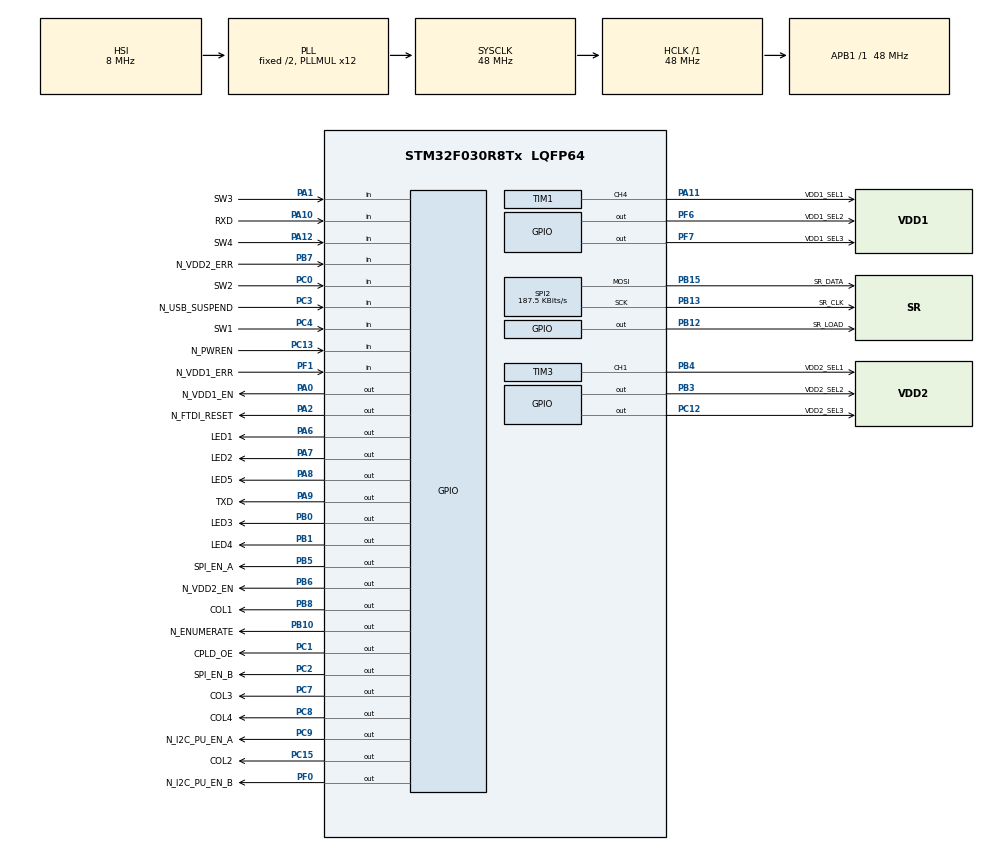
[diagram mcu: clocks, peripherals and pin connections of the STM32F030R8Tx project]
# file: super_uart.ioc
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Mcu.Family=STM32F0
Mcu.Name=STM32F030R8Tx
Mcu.Package=LQFP64
NVIC.TIM6_IRQn=true\:0\:0\:false\:false\:true\:true
PA0.GPIO_Label=N_VDD1_EN
PA0.GPIO_ModeDefaultOutputPP=GPIO_MODE_OUTPUT_PP
PA0.GPIO_PuPd=GPIO_NOPULL
PA0.GPIO_Speed=GPIO_SPEED_FREQ_LOW
PA0.PinState=GPIO_PIN_SET
PA0.Signal=GPIO_Output
PA1.GPIO_Label=SW3
PA1.GPIO_PuPd=GPIO_PULLUP
PA1.Signal=GPIO_Input
PA10.GPIO_Label=RXD
PA10.GPIO_PuPd=GPIO_PULLUP
PA10.Signal=GPIO_Input
PA11.GPIO_Label=VDD1_SEL1
PA11.Signal=S_TIM1_CH4
PA12.GPIO_Label=SW4
PA12.GPIO_PuPd=GPIO_PULLUP
PA12.Signal=GPIO_Input
PA13.Mode=Serial_Wire
PA13.Signal=SYS_SWDIO
PA14.Mode=Serial_Wire
PA14.Signal=SYS_SWCLK
PA2.GPIO_Label=N_FTDI_RESET
PA2.GPIO_ModeDefaultOutputPP=GPIO_MODE_OUTPUT_PP
PA2.GPIO_PuPd=GPIO_NOPULL
PA2.GPIO_Speed=GPIO_SPEED_FREQ_LOW
PA2.PinState=GPIO_PIN_SET
PA2.Signal=GPIO_Output
PA6.GPIO_Label=LED1
PA6.GPIO_ModeDefaultOutputPP=GPIO_MODE_OUTPUT_PP
PA6.GPIO_PuPd=GPIO_NOPULL
PA6.GPIO_Speed=GPIO_SPEED_FREQ_LOW
PA6.PinState=GPIO_PIN_RESET
PA6.Signal=GPIO_Output
PA7.GPIO_Label=LED2
PA7.GPIO_ModeDefaultOutputPP=GPIO_MODE_OUTPUT_PP
PA7.GPIO_PuPd=GPIO_NOPULL
PA7.GPIO_Speed=GPIO_SPEED_FREQ_LOW
PA7.PinState=GPIO_PIN_RESET
PA7.Signal=GPIO_Output
PA8.GPIO_Label=LED5
PA8.GPIO_ModeDefaultOutputPP=GPIO_MODE_OUTPUT_PP
PA8.GPIO_PuPd=GPIO_NOPULL
PA8.GPIO_Speed=GPIO_SPEED_FREQ_LOW
PA8.PinState=GPIO_PIN_RESET
PA8.Signal=GPIO_Output
PA9.GPIO_Label=TXD
PA9.GPIO_ModeDefaultOutputPP=GPIO_MODE_OUTPUT_PP
PA9.GPIO_PuPd=GPIO_NOPULL
PA9.GPIO_Speed=GPIO_SPEED_FREQ_LOW
PA9.PinState=GPIO_PIN_SET
PA9.Signal=GPIO_Output
PB0.GPIO_Label=LED3
PB0.GPIO_ModeDefaultOutputPP=GPIO_MODE_OUTPUT_PP
PB0.GPIO_PuPd=GPIO_NOPULL
PB0.GPIO_Speed=GPIO_SPEED_FREQ_LOW
PB0.PinState=GPIO_PIN_RESET
PB0.Signal=GPIO_Output
PB1.GPIO_Label=LED4
PB1.GPIO_ModeDefaultOutputPP=GPIO_MODE_OUTPUT_PP
PB1.GPIO_PuPd=GPIO_NOPULL
PB1.GPIO_Speed=GPIO_SPEED_FREQ_LOW
PB1.PinState=GPIO_PIN_RESET
PB1.Signal=GPIO_Output
PB10.GPIO_Label=N_ENUMERATE
PB10.PinState=GPIO_PIN_SET
PB10.Signal=GPIO_Output
PB12.GPIO_Label=SR_LOAD
PB12.GPIO_ModeDefaultOutputPP=GPIO_MODE_OUTPUT_PP
PB12.GPIO_PuPd=GPIO_NOPULL
PB12.GPIO_Speed=GPIO_SPEED_FREQ_LOW
PB12.PinState=GPIO_PIN_RESET
PB12.Signal=GPIO_Output
PB13.GPIO_Label=SR_CLK
PB13.GPIO_Speed=GPIO_SPEED_FREQ_LOW
PB13.Mode=TX_Only_Simplex_Unidirect_Master
PB13.Signal=SPI2_SCK
PB15.GPIO_Label=SR_DATA
PB15.GPIO_Speed=GPIO_SPEED_FREQ_LOW
PB15.Mode=TX_Only_Simplex_Unidirect_Master
PB15.Signal=SPI2_MOSI
PB3.GPIO_Label=VDD2_SEL2
PB3.GPIO_ModeDefaultOutputPP=GPIO_MODE_OUTPUT_PP
PB3.GPIO_PuPd=GPIO_NOPULL
PB3.GPIO_Speed=GPIO_SPEED_FREQ_LOW
PB3.PinState=GPIO_PIN_RESET
PB3.Signal=GPIO_Output
PB4.GPIO_Label=VDD2_SEL1
PB4.Signal=S_TIM3_CH1
PB5.GPIO_Label=SPI_EN_A
PB5.GPIO_ModeDefaultOutputPP=GPIO_MODE_OUTPUT_PP
PB5.GPIO_PuPd=GPIO_NOPULL
PB5.GPIO_Speed=GPIO_SPEED_FREQ_LOW
PB5.PinState=GPIO_PIN_RESET
PB5.Signal=GPIO_Output
PB6.GPIO_Label=N_VDD2_EN
PB6.GPIO_ModeDefaultOutputPP=GPIO_MODE_OUTPUT_PP
PB6.GPIO_PuPd=GPIO_NOPULL
PB6.GPIO_Speed=GPIO_SPEED_FREQ_LOW
PB6.PinState=GPIO_PIN_SET
PB6.Signal=GPIO_Output
PB7.GPIO_Label=N_VDD2_ERR
PB7.GPIO_PuPd=GPIO_PULLUP
PB7.Signal=GPIO_Input
PB8.GPIO_Label=COL1
PB8.GPIO_ModeDefaultOutputPP=GPIO_MODE_OUTPUT_PP
PB8.GPIO_PuPd=GPIO_NOPULL
PB8.GPIO_Speed=GPIO_SPEED_FREQ_LOW
PB8.PinState=GPIO_PIN_SET
PB8.Signal=GPIO_Output
PC0.GPIO_Label=SW2
PC0.GPIO_PuPd=GPIO_PULLUP
PC0.Signal=GPIO_Input
PC1.GPIO_Label=CPLD_OE
PC1.GPIO_ModeDefaultOutputPP=GPIO_MODE_OUTPUT_PP
PC1.GPIO_PuPd=GPIO_NOPULL
PC1.GPIO_Speed=GPIO_SPEED_FREQ_LOW
PC1.PinState=GPIO_PIN_SET
PC1.Signal=GPIO_Output
PC12.GPIO_Label=VDD2_SEL3
PC12.GPIO_ModeDefaultOutputPP=GPIO_MODE_OUTPUT_PP
PC12.GPIO_PuPd=GPIO_NOPULL
PC12.GPIO_Speed=GPIO_SPEED_FREQ_LOW
PC12.PinState=GPIO_PIN_RESET
PC12.Signal=GPIO_Output
PC13.GPIO_Label=N_PWREN
PC13.GPIO_PuPd=GPIO_PULLUP
PC13.Signal=GPIO_Input
PC15-OSC32_OUT.GPIO_Label=COL2
PC15-OSC32_OUT.GPIO_ModeDefaultOutputPP=GPIO_MODE_OUTPUT_PP
PC15-OSC32_OUT.GPIO_PuPd=GPIO_NOPULL
PC15-OSC32_OUT.GPIO_Speed=GPIO_SPEED_FREQ_LOW
PC15-OSC32_OUT.PinState=GPIO_PIN_SET
PC15-OSC32_OUT.Signal=GPIO_Output
PC2.GPIO_Label=SPI_EN_B
PC2.GPIO_ModeDefaultOutputPP=GPIO_MODE_OUTPUT_PP
PC2.GPIO_PuPd=GPIO_NOPULL
PC2.GPIO_Speed=GPIO_SPEED_FREQ_LOW
PC2.PinState=GPIO_PIN_RESET
PC2.Signal=GPIO_Output
PC3.GPIO_Label=N_USB_SUSPEND
PC3.GPIO_PuPd=GPIO_PULLUP
PC3.Signal=GPIO_Input
PC4.GPIO_Label=SW1
PC4.GPIO_PuPd=GPIO_PULLUP
PC4.Signal=GPIO_Input
PC7.GPIO_Label=COL3
PC7.GPIO_ModeDefaultOutputPP=GPIO_MODE_OUTPUT_PP
PC7.GPIO_PuPd=GPIO_NOPULL
PC7.GPIO_Speed=GPIO_SPEED_FREQ_LOW
PC7.PinState=GPIO_PIN_SET
PC7.Signal=GPIO_Output
PC8.GPIO_Label=COL4
PC8.GPIO_ModeDefaultOutputPP=GPIO_MODE_OUTPUT_PP
PC8.GPIO_PuPd=GPIO_NOPULL
PC8.GPIO_Speed=GPIO_SPEED_FREQ_LOW
PC8.PinState=GPIO_PIN_SET
PC8.Signal=GPIO_Output
PC9.GPIO_Label=N_I2C_PU_EN_A
PC9.GPIO_ModeDefaultOutputPP=GPIO_MODE_OUTPUT_PP
PC9.GPIO_PuPd=GPIO_NOPULL
PC9.GPIO_Speed=GPIO_SPEED_FREQ_LOW
PC9.PinState=GPIO_PIN_SET
PC9.Signal=GPIO_Output
PF0-OSC_IN.GPIO_Label=N_I2C_PU_EN_B
PF0-OSC_IN.GPIO_ModeDefaultOutputPP=GPIO_MODE_OUTPUT_PP
PF0-OSC_IN.GPIO_PuPd=GPIO_NOPULL
PF0-OSC_IN.GPIO_Speed=GPIO_SPEED_FREQ_LOW
PF0-OSC_IN.PinState=GPIO_PIN_SET
PF0-OSC_IN.Signal=GPIO_Output
PF1-OSC_OUT.GPIO_Label=N_VDD1_ERR
PF1-OSC_OUT.GPIO_PuPd=GPIO_PULLUP
PF1-OSC_OUT.Signal=GPIO_Input
PF6.GPIO_Label=VDD1_SEL2
PF6.GPIO_ModeDefaultOutputPP=GPIO_MODE_OUTPUT_PP
PF6.GPIO_PuPd=GPIO_NOPULL
PF6.GPIO_Speed=GPIO_SPEED_FREQ_LOW
PF6.PinState=GPIO_PIN_RESET
PF6.Signal=GPIO_Output
PF7.GPIO_Label=VDD1_SEL3
PF7.GPIO_ModeDefaultOutputPP=GPIO_MODE_OUTPUT_PP
PF7.GPIO_PuPd=GPIO_NOPULL
PF7.GPIO_Speed=GPIO_SPEED_FREQ_LOW
PF7.PinState=GPIO_PIN_RESET
PF7.Signal=GPIO_Output
ProjectManager.HeapSize=0x200
ProjectManager.StackSize=0x400
ProjectManager.TargetToolchain=SW4STM32
RCC.AHBFreq_Value=48000000
RCC.APB1Freq_Value=48000000
RCC.APB1TimFreq_Value=48000000
RCC.HCLKFreq_Value=48000000
RCC.PLLMUL=RCC_PLL_MUL12
RCC.SYSCLKFreq_VALUE=48000000
RCC.SYSCLKSource=RCC_SYSCLKSOURCE_PLLCLK
SH.S_TIM1_CH4.0=TIM1_CH4,PWM Generation4 CH4
SH.S_TIM3_CH1.0=TIM3_CH1,PWM Generation1 CH1
SPI2.BaudRatePrescaler=SPI_BAUDRATEPRESCALER_256
SPI2.CalculateBaudRate=187.5 KBits/s
SPI2.DataSize=SPI_DATASIZE_8BIT
SPI2.Direction=SPI_DIRECTION_2LINES
SPI2.Mode=SPI_MODE_MASTER
SPI2.NSSPMode=SPI_NSS_PULSE_DISABLE
SPI2.VirtualType=VM_MASTER
TIM1.Channel-PWM\ Generation4\ CH4=TIM_CHANNEL_4
TIM1.Period=479
TIM1.Pulse-PWM\ Generation4\ CH4=479
TIM3.Channel-PWM\ Generation1\ CH1=TIM_CHANNEL_1
TIM3.Period=479
TIM3.Pulse-PWM\ Generation1\ CH1=479
TIM6.Period=47999
VP_TIM6_VS_ClockSourceINT.Mode=Enable_Timer
board=super_uart

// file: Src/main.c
/**
 ******************************************************************************
 * File Name          : main.c
 * Description        : Main program body
 ******************************************************************************
 ** This notice applies to any and all portions of this file
 * that are not between comment pairs USER CODE BEGIN and
 * USER CODE END. Other portions of this file, whether
 * inserted by the user or by software development tools
 * are owned by their respective copyright owners.
 *
 * COPYRIGHT(c) 2017 STMicroelectronics
 *
 * Redistribution and use in source and binary forms, with or without modification,
 * are permitted provided that the following conditions are met:
 *   1. Redistributions of source code must retain the above copyright notice,
 *      this list of conditions and the following disclaimer.
 *   2. Redistributions in binary form must reproduce the above copyright notice,
 *      this list of conditions and the following disclaimer in the documentation
 *      and/or other materials provided with the distribution.
 *   3. Neither the name of STMicroelectronics nor the names of its contributors
 *      may be used to endorse or promote products derived from this software
 *      without specific prior written permission.
 *
 * THIS SOFTWARE IS PROVIDED BY THE COPYRIGHT HOLDERS AND CONTRIBUTORS "AS IS"
 * AND ANY EXPRESS OR IMPLIED WARRANTIES, INCLUDING, BUT NOT LIMITED TO, THE
 * IMPLIED WARRANTIES OF MERCHANTABILITY AND FITNESS FOR A PARTICULAR PURPOSE ARE
 * DISCLAIMED. IN NO EVENT SHALL THE COPYRIGHT HOLDER OR CONTRIBUTORS BE LIABLE
 * FOR ANY DIRECT, INDIRECT, INCIDENTAL, SPECIAL, EXEMPLARY, OR CONSEQUENTIAL
 * DAMAGES (INCLUDING, BUT NOT LIMITED TO, PROCUREMENT OF SUBSTITUTE GOODS OR
 * SERVICES; LOSS OF USE, DATA, OR PROFITS; OR BUSINESS INTERRUPTION) HOWEVER
 * CAUSED AND ON ANY THEORY OF LIABILITY, WHETHER IN CONTRACT, STRICT LIABILITY,
 * OR TORT (INCLUDING NEGLIGENCE OR OTHERWISE) ARISING IN ANY WAY OUT OF THE USE
 * OF THIS SOFTWARE, EVEN IF ADVISED OF THE POSSIBILITY OF SUCH DAMAGE.
 *
 ******************************************************************************
 */

#include "main.h"
#include "stm32f0xx_hal.h"
#include "spi.h"
#include "tim.h"
#include "gpio.h"

/* USER CODE BEGIN Includes */
#include <stdbool.h>
#include <stdint.h>
#include <buttons.h>
/* USER CODE END Includes */

/* USER CODE BEGIN PV */
/* Private variables ---------------------------------------------------------*/

/* USER CODE END PV */

void SystemClock_Config(void);

/* USER CODE BEGIN PFP */
/* Private function prototypes -----------------------------------------------*/

/* USER CODE END PFP */

/* USER CODE BEGIN 0 */
typedef enum {
	LED_TX,
	LED_1V8_1,
	LED_2V5_1,
	LED_SPI_A,
	LED_RX,
	LED_3V3_1,
	LED_5V_1,
	LED_I2C_A,
	LED_I2C_B,
	LED_ISO,
	LED_2V5_2,
	LED_1V8_2,
	LED_SPI_B,
	LED_SPY,
	LED_5V_2,
	LED_3V3_2,
	LED_EN_A,
	LED_EN_B,
	LED_EN_C,
	LED_EN_D
} led_number_t;
typedef enum {
	BUTTON_TX,
	BUTTON_1V8_1,
	BUTTON_2V5_1,
	BUTTON_I2C_A,
	BUTTON_RX,
	BUTTON_3V3_1,
	BUTTON_5V_1,
	BUTTON_SPI_A,
	BUTTON_I2C_B,
	BUTTON_ISO,
	BUTTON_2V5_2,
	BUTTON_1V8_2,
	BUTTON_SPI_B,
	BUTTON_SPY,
	BUTTON_5V_2,
	BUTTON_3V3_2,
} button_number_t;
volatile GPIO_PinState led_states[20];
typedef enum {
	VOLTAGE_1V8, VOLTAGE_2V5, VOLTAGE_3V3, VOLTAGE_5V0, VOLTAGE_NONE
} voltage_t;
enum {
	PWM_MAX = 479
};
static voltage_t voltages[] = { VOLTAGE_NONE, VOLTAGE_NONE };
typedef enum {
	CHANNEL_MODE_I2C, CHANNEL_MODE_SPI, CHANNEL_MODE_UART, CHANNEL_MODE_SPY
} channel_mode_t;
static channel_mode_t modes[] = { CHANNEL_MODE_UART, CHANNEL_MODE_UART,
		CHANNEL_MODE_UART, CHANNEL_MODE_UART };
static bool iso_enabled = true;

typedef enum {
	BUZZER_RX, BUZZER_TX
} buzzer_mode_t;
static bool buzzer_enable[] = { false, false };

static volatile bool button_process_flag = false;

void HAL_TIM_PeriodElapsedCallback(TIM_HandleTypeDef *htim) {
	GPIO_TypeDef* col_ports[] = { COL1_GPIO_Port, COL2_GPIO_Port,
	COL3_GPIO_Port, COL4_GPIO_Port };
	uint16_t col_pins[] = { COL1_Pin, COL2_Pin, COL3_Pin, COL4_Pin };
	GPIO_TypeDef* led_ports[] = { LED1_GPIO_Port, LED2_GPIO_Port,
	LED3_GPIO_Port, LED4_GPIO_Port, LED5_GPIO_Port };
	uint16_t led_pins[] = { LED1_Pin, LED2_Pin, LED3_Pin, LED4_Pin,
	LED5_Pin };
	GPIO_TypeDef* sw_ports[] = { SW1_GPIO_Port, SW2_GPIO_Port,
	SW3_GPIO_Port, SW4_GPIO_Port };
	uint16_t sw_pins[] = { SW1_Pin, SW2_Pin, SW3_Pin, SW4_Pin };
	static uint_fast8_t col = 0;

	if (htim == &htim6) {
		for (uint_fast8_t row = 0; row < 4; row++) {
			buttons_input_states[row * 4 + col] = !HAL_GPIO_ReadPin(
					sw_ports[row], sw_pins[row]);
		}
		HAL_GPIO_WritePin(col_ports[col], col_pins[col], GPIO_PIN_SET);
		col++;
		if (col >= 4) {
			col = 0;
			button_process_flag = true;
		}
		for (uint_fast8_t row = 0; row < 5; row++) {
			HAL_GPIO_WritePin(led_ports[row], led_pins[row],
					led_states[row * 4 + col]);
		}
		HAL_GPIO_WritePin(col_ports[col], col_pins[col], GPIO_PIN_RESET);
	} else {

	}
}

void shift_register_write(uint8_t data) {
	HAL_SPI_Transmit(&hspi2, &data, 1, 10);
	for (int i = 0; i < 10; i++) { // for delay
		HAL_GPIO_WritePin(SR_LOAD_GPIO_Port, SR_LOAD_Pin, GPIO_PIN_SET);
	}
	HAL_GPIO_WritePin(SR_LOAD_GPIO_Port, SR_LOAD_Pin, GPIO_PIN_RESET);
}

void led_demo() {
	for (int j = 0; j < 20; j++) {
		for (int i = 0; i < 20; i++) {
			led_states[i] = !led_states[i];
			HAL_Delay(50);
		}
	}
}

void update_enable_leds() {
	uint8_t enable_leds[2][2] =
			{ { LED_EN_B, LED_EN_D }, { LED_EN_A, LED_EN_C } };
	bool enabled;
	for (int channel = 0; channel < 2; channel++) {
		enabled = voltages[channel] < VOLTAGE_NONE;
		for (uint8_t i = 0; i < 2; i++) {
			led_states[enable_leds[channel][i]] = enabled;
		}
	}
	if (modes[3] == CHANNEL_MODE_SPY) {
		led_states[LED_EN_B] = 0;
		led_states[LED_EN_C] = 0;
	}
}

void change_voltage(uint_fast8_t channel, voltage_t voltage) {
	uint8_t voltage_leds[2][4] = { { 1, 2, 5, 6 }, { 11, 10, 15, 14 } };
	uint16_t voltage_pwm[] = { PWM_MAX, PWM_MAX * 0.795, PWM_MAX * 0.553, 0,
			PWM_MAX };
	TIM_HandleTypeDef* voltage_timer[] = { &htim1, &htim3 };
	uint16_t voltage_channel[] = { TIM_CHANNEL_4,
	TIM_CHANNEL_1 };
	GPIO_TypeDef* enable_port[] = { N_VDD1_EN_GPIO_Port,
	N_VDD2_EN_GPIO_Port };
	uint16_t enable_pin[] = { N_VDD1_EN_Pin, N_VDD2_EN_Pin };
	if (voltage == voltages[channel]) {
		voltage = VOLTAGE_NONE;
	}
	voltages[channel] = voltage;
	for (voltage_t i = 0; i < VOLTAGE_NONE; i++) {
		led_states[voltage_leds[channel][i]] = (i == voltage);
	}
	bool enabled = voltage < VOLTAGE_NONE;
	__HAL_TIM_SET_COMPARE(voltage_timer[channel], voltage_channel[channel],
			voltage_pwm[voltage]);
	HAL_GPIO_WritePin(enable_port[channel], enable_pin[channel], !enabled);
	update_enable_leds();
}

void shift_register_update() {
	uint8_t data = ((buzzer_enable[0] & 1) << 7) | ((buzzer_enable[1] & 1) << 6)
			| ((!iso_enabled & 1) << 5)
			| (((modes[3] == CHANNEL_MODE_SPY) & 1) << 4)
			| (((modes[1] != CHANNEL_MODE_UART) & 3) << 3)
			| (((modes[1] == CHANNEL_MODE_I2C) & 1) << 2)
			| (((modes[0] != CHANNEL_MODE_UART) & 1) << 1)
			| (((modes[0] == CHANNEL_MODE_I2C) & 1) << 0);
	shift_register_write(data);
}

void change_mode(uint_fast8_t channel, channel_mode_t mode) {
	uint8_t mode_leds[2][2] = { { 7, 3 }, { 8, 12 } };
	GPIO_TypeDef* n_pullup_en_ports[] = { N_I2C_PU_EN_A_GPIO_Port,
	N_I2C_PU_EN_B_GPIO_Port };
	uint16_t n_pullup_en_pins[] = { N_I2C_PU_EN_A_Pin, N_I2C_PU_EN_B_Pin };
	GPIO_TypeDef* spi_en_ports[] = { SPI_EN_A_GPIO_Port,
	SPI_EN_B_GPIO_Port };
	uint16_t spi_en_pins[] = { SPI_EN_A_Pin, SPI_EN_B_Pin };
	if (mode == modes[channel]) {
		mode = CHANNEL_MODE_UART;
	}
	modes[channel] = mode;
	if (mode == CHANNEL_MODE_SPY) {
		// change to spy mode -> reset mode of B channel
		modes[1] = CHANNEL_MODE_UART;
	} else if ((channel = 1) && (modes[3] == CHANNEL_MODE_SPY)) {
		// change B or C channel mode - reset spy mode
		modes[3] = CHANNEL_MODE_UART;
	}
	for (int ch = 0; ch < 2; ch++) {
		for (channel_mode_t i = 0; i < CHANNEL_MODE_UART; i++) {
			led_states[mode_leds[ch][i]] = (i == modes[ch]);
		}
	}
	update_enable_leds();
	led_states[LED_SPY] = modes[3] == CHANNEL_MODE_SPY;
	// TODO: mode set
	if (channel < 2) {
		HAL_GPIO_WritePin(n_pullup_en_ports[channel], n_pullup_en_pins[channel],
				mode != CHANNEL_MODE_I2C);
		HAL_GPIO_WritePin(spi_en_ports[channel], spi_en_pins[channel],
				mode == CHANNEL_MODE_SPI);
	}
	shift_register_update();
}

void change_buzzer_mode(buzzer_mode_t mode) {
	static const uint8_t mode_leds[2] = { 4, 0 };
	buzzer_enable[mode] = !buzzer_enable[mode];
	led_states[mode_leds[mode]] = buzzer_enable[mode];
	shift_register_update();
}

void change_iso_mode() {
	iso_enabled = !iso_enabled;
	led_states[LED_ISO] = iso_enabled;
	shift_register_update();
}

/* USER CODE END 0 */

int main(void) {

	/* MCU Configuration----------------------------------------------------------*/

	/* Reset of all peripherals, Initializes the Flash interface and the Systick. */
	HAL_Init();

	/* Configure the system clock */
	SystemClock_Config();

	/* Initialize all configured peripherals */
	MX_GPIO_Init();
	MX_SPI2_Init();
	MX_TIM6_Init();
	MX_TIM1_Init();
	MX_TIM3_Init();

	/* USER CODE BEGIN 2 */
	buttons_init();
	for (int i = 0; i < 20; i++) {
		led_states[i] = GPIO_PIN_RESET;
	}
	led_states[LED_ISO] = GPIO_PIN_SET;
	HAL_TIM_Base_Start_IT(&htim6);
	HAL_TIM_Base_Start(&htim1);
	HAL_TIM_PWM_Start(&htim1, TIM_CHANNEL_4);
	HAL_TIM_Base_Start(&htim3);
	HAL_TIM_PWM_Start(&htim3, TIM_CHANNEL_1);
	/* USER CODE END 2 */

	/* Infinite loop */
	while (1) {

		/* USER CODE BEGIN 3 */
#if 1
		if (button_process_flag) {
			buttons_process();
			// Easter egg - led demo
			static int easter_cnt = 0;
			if (buttons_is_pressed(BUTTON_ISO) && buttons_is_pressed(BUTTON_TX)
					&& buttons_is_pressed(BUTTON_RX)) {
				easter_cnt++;
				if (easter_cnt >= 500) {
					led_demo();
					easter_cnt = 0;
				}
			} else {
				easter_cnt -= 10;
				if (easter_cnt < 0) {
					easter_cnt = 0;
				}
			}
			if (buttons_was_clicked(BUTTON_1V8_1)) {
				change_voltage(0, VOLTAGE_1V8);
			}
			if (buttons_was_clicked(BUTTON_1V8_2)) {
				change_voltage(1, VOLTAGE_1V8);
			}
			if (buttons_was_clicked(BUTTON_2V5_1)) {
				change_voltage(0, VOLTAGE_2V5);
			}
			if (buttons_was_clicked(BUTTON_2V5_2)) {
				change_voltage(1, VOLTAGE_2V5);
			}
			if (buttons_was_clicked(BUTTON_3V3_1)) {
				change_voltage(0, VOLTAGE_3V3);
			}
			if (buttons_was_clicked(BUTTON_3V3_2)) {
				change_voltage(1, VOLTAGE_3V3);
			}
			if (buttons_was_clicked(BUTTON_5V_1)) {
				change_voltage(0, VOLTAGE_5V0);
			}
			if (buttons_was_clicked(BUTTON_5V_2)) {
				change_voltage(1, VOLTAGE_5V0);
			}

			if (buttons_was_clicked(BUTTON_I2C_A)) {
				change_mode(0, CHANNEL_MODE_I2C);
			}
			if (buttons_was_clicked(BUTTON_I2C_B)) {
				change_mode(1, CHANNEL_MODE_I2C);
			}
			if (buttons_was_clicked(BUTTON_SPI_A)) {
				change_mode(0, CHANNEL_MODE_SPI);
			}
			if (buttons_was_clicked(BUTTON_SPI_B)) {
				change_mode(1, CHANNEL_MODE_SPI);
			}

			if (buttons_was_clicked(BUTTON_RX)) {
				change_buzzer_mode(BUZZER_RX);
			}
			if (buttons_was_clicked(BUTTON_TX)) {
				change_buzzer_mode(BUZZER_TX);
			}

			if (buttons_was_clicked(BUTTON_ISO)) {
				change_iso_mode();
			}
			if (buttons_was_clicked(BUTTON_SPY)) {
				change_mode(3, CHANNEL_MODE_SPY);
			}
			button_process_flag = false;
		}

#elif 0
		led_demo();
#endif
	}
	/* USER CODE END 3 */

}

/** System Clock Configuration
 */
void SystemClock_Config(void) {

	RCC_OscInitTypeDef RCC_OscInitStruct;
	RCC_ClkInitTypeDef RCC_ClkInitStruct;

	/**Initializes the CPU, AHB and APB busses clocks
	 */
	RCC_OscInitStruct.OscillatorType = RCC_OSCILLATORTYPE_HSI;
	RCC_OscInitStruct.HSIState = RCC_HSI_ON;
	RCC_OscInitStruct.HSICalibrationValue = 16;
	RCC_OscInitStruct.PLL.PLLState = RCC_PLL_ON;
	RCC_OscInitStruct.PLL.PLLSource = RCC_PLLSOURCE_HSI;
	RCC_OscInitStruct.PLL.PLLMUL = RCC_PLL_MUL12;
	RCC_OscInitStruct.PLL.PREDIV = RCC_PREDIV_DIV1;
	if (HAL_RCC_OscConfig(&RCC_OscInitStruct) != HAL_OK) {
		_Error_Handler(__FILE__, __LINE__);
	}

	/**Initializes the CPU, AHB and APB busses clocks
	 */
	RCC_ClkInitStruct.ClockType = RCC_CLOCKTYPE_HCLK | RCC_CLOCKTYPE_SYSCLK
			| RCC_CLOCKTYPE_PCLK1;
	RCC_ClkInitStruct.SYSCLKSource = RCC_SYSCLKSOURCE_PLLCLK;
	RCC_ClkInitStruct.AHBCLKDivider = RCC_SYSCLK_DIV1;
	RCC_ClkInitStruct.APB1CLKDivider = RCC_HCLK_DIV1;

	if (HAL_RCC_ClockConfig(&RCC_ClkInitStruct, FLASH_LATENCY_1) != HAL_OK) {
		_Error_Handler(__FILE__, __LINE__);
	}

	/**Configure the Systick interrupt time
	 */
	HAL_SYSTICK_Config(HAL_RCC_GetHCLKFreq() / 1000);

	/**Configure the Systick
	 */
	HAL_SYSTICK_CLKSourceConfig(SYSTICK_CLKSOURCE_HCLK);

	/* SysTick_IRQn interrupt configuration */
	HAL_NVIC_SetPriority(SysTick_IRQn, 0, 0);
}

void _Error_Handler(char * file, int line) {
	while (1) {
	}
}

/************************ (C) COPYRIGHT STMicroelectronics *****END OF FILE****/
